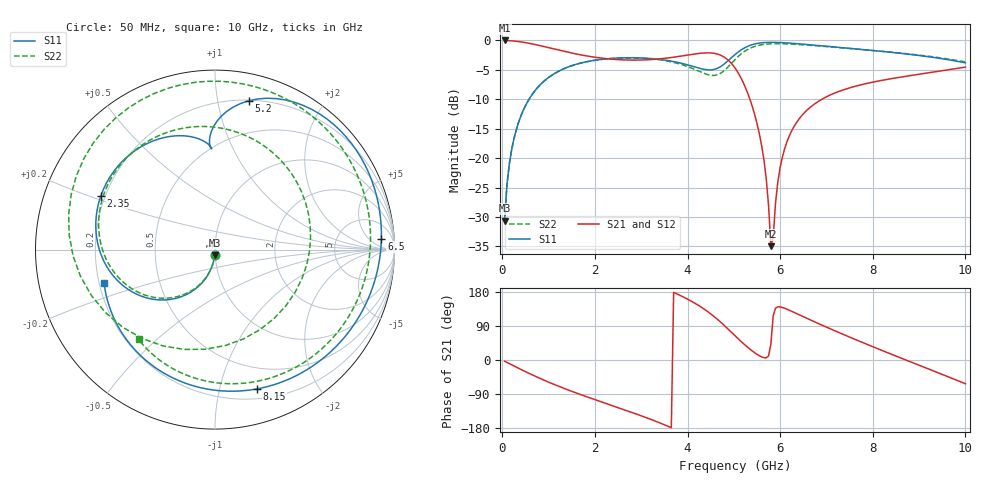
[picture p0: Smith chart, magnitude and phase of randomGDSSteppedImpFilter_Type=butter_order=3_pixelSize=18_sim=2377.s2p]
! freq	dB(S11)	phase(S11)	dB(S12)	phase(S12)
!  dB(S21)	phase(S21)	dB(S22)	phase(S22)
!S-par simulation data
#  GHz  S  DB  R 50
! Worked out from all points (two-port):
!   200 points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, 50 MHz to 10 GHz, reference 50 ohm
!   highest |S21| = 0.00 dB at 50 MHz (marker M1); lowest = -35.0 dB at 5.8 GHz (marker M2)
!   |S21| within 3 dB of the highest: start of sweep to 2.141 GHz; 3.549 GHz to 4.822 GHz (1.273 GHz wide, 30.4 % of centre)
!   lowest |S11| = -30.6 dB at 50 MHz (marker M3), VSWR 1.06, Z = 49.8 - j2.93 ohm
!   |S11| at or under -10 dB: start of sweep to 577.9 MHz
!   |S22| runs from -30.6 to -0.6 dB; largest |S21 - S12| = 0
!   S11 on the Smith chart (normalised r, x): 50 MHz: 1.00, -0.06; 2.35 GHz: 0.18, +0.22; 5.2 GHz: 0.20, +1.23; 6.5 GHz: 15, +13; 8.15 GHz: 0.29, -1.31; 10 GHz: 0.22, -0.14
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0.05  -30.61 -93.0  -0.00 -3.1  -0.00 -3.1  -30.62 -93.2
0.2  -18.65 -102.4  -0.06 -12.5  -0.06 -12.5  -18.66 -102.8
0.5  -11.10 -120.4  -0.37 -30.7  -0.37 -30.7  -11.11 -121.5
1.05  -6.01 -150.1  -1.32 -61.0  -1.32 -61.0  -6.02 -152.8
1.75  -3.74 178.3  -2.54 -93.8  -2.54 -93.8  -3.75 172.9
2.35  -3.06 154.6  -3.18 -119.3  -3.18 -119.3  -3.08 145.5
3.4  -3.22 116.5  -3.13 -165.9  -3.13 -165.9  -3.30 91.3
3.9  -3.94 100.4  -2.62 166.9  -2.62 166.9  -4.17 54.0
4.4  -4.97 91.9  -2.12 130.8  -2.12 130.8  -5.72 -9.4
4.75  -4.26 92.9  -2.65 96.1  -2.65 96.1  -5.39 -84.0
5.05  -2.24 85.1  -4.97 61.1  -4.97 61.1  -3.05 -150.0
5.2  -1.40 77.1  -7.12 44.0  -7.12 44.0  -2.03 -177.5
5.6  -0.40 52.4  -17.87 8.2  -17.87 8.2  -0.73 127.0
5.8  -0.32 40.6  -34.97 42.0  -34.97 42.0  -0.57 106.2
6.05  -0.38 26.8  -19.76 138.5  -19.76 138.5  -0.56 84.2
6.5  -0.64 3.7  -12.48 114.4  -12.48 114.4  -0.75 51.2
6.7  -0.78 -6.1  -11.04 103.1  -11.04 103.1  -0.86 38.1
7.35  -1.24 -36.7  -8.44 68.2  -8.44 68.2  -1.27 -0.6
8.15  -1.82 -73.2  -6.86 27.6  -6.86 27.6  -1.81 -43.1
8.35  -1.98 -82.3  -6.57 17.7  -6.57 17.7  -1.96 -53.1
9.1  -2.66 -117.2  -5.63 -18.6  -5.63 -18.6  -2.59 -89.1
10  -3.81 -163.2  -4.54 -62.6  -4.54 -62.6  -3.64 -130.4
